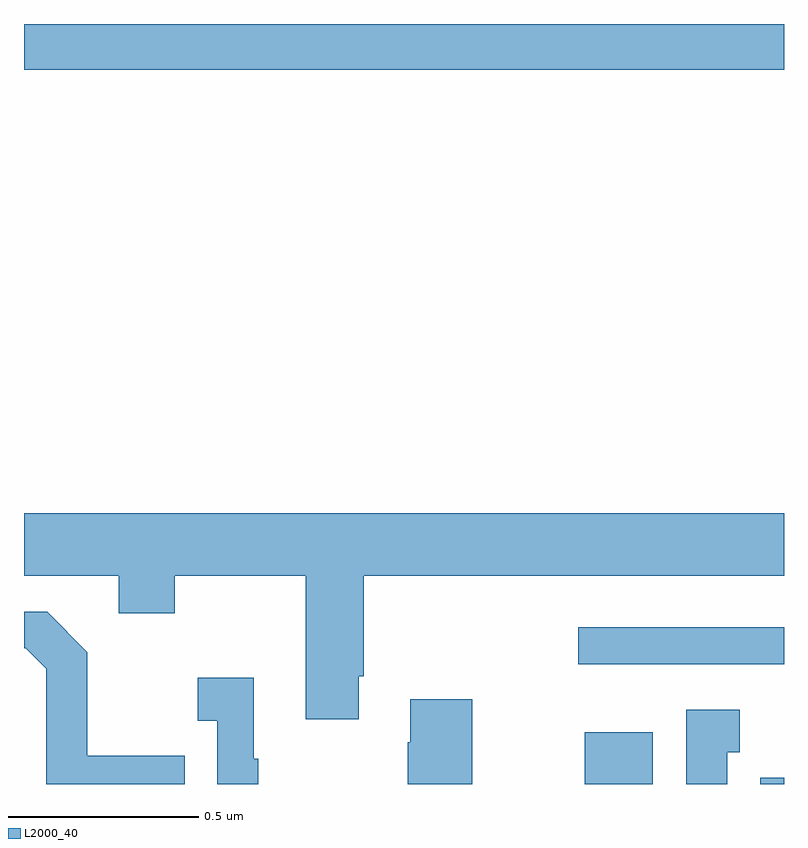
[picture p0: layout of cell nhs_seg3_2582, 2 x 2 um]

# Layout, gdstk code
import gdstk
lib = gdstk.Library(unit=1e-6, precision=1e-09)
def R(c, l, rs):  # rectangles x0, y0, x1, y1
    for r in rs: c.add(gdstk.rectangle(r[:2], r[2:], *l))
def P(c, l, *ps):  # polygons
    for p in ps: c.add(gdstk.Polygon(p, *l))
L2000_40 = (2000, 40)

nhs_seg3_2582 = lib.new_cell('nhs_seg3_2582')
R(nhs_seg3_2582, L2000_40, [(144.476,668.4,144.655,668.536), (144.938,668.4,145,668.416), (144.459,668.715,145,668.812), (143,670.28,145,670.4)])
P(nhs_seg3_2582, L2000_40, [(143.881,668.683),(143.894,668.683),(143.894,668.948),(145,668.948),(145,669.112),(143,669.112),(143,668.948),(143.249,668.948),(143.249,668.849),(143.397,668.849),(143.397,668.948),(143.741,668.948),(143.741,668.571),(143.881,668.571)],
  [(143.423,668.475),(143.167,668.475),(143.167,668.747),(143.061,668.853),(143,668.853),(143,668.757),(143.004,668.757),(143.058,668.703),(143.058,668.4),(143.423,668.4)],
  [(143.617,668.467),(143.605,668.467),(143.605,668.68),(143.457,668.68),(143.457,668.567),(143.508,668.567),(143.508,668.4),(143.617,668.4)],
  [(144.18,668.623),(144.017,668.623),(144.017,668.51),(144.01,668.51),(144.01,668.4),(144.18,668.4)],
  [(144.85,668.483),(144.883,668.483),(144.883,668.596),(144.743,668.596),(144.743,668.4),(144.85,668.4)])

lib.write_gds('nhs_seg3_2582.gds')
